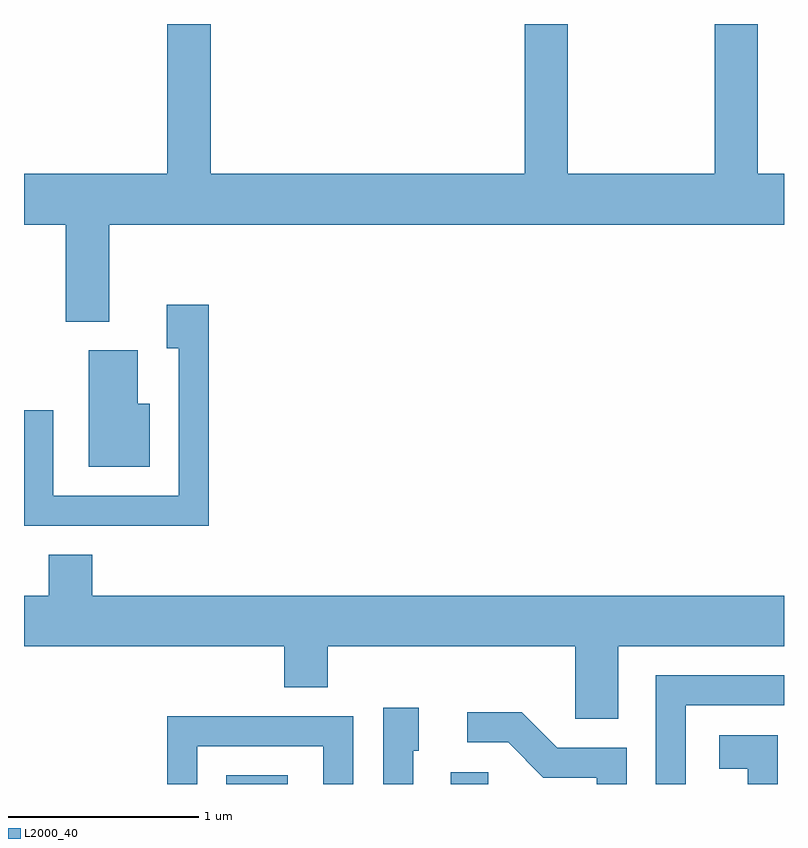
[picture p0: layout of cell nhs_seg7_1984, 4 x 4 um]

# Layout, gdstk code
import gdstk
lib = gdstk.Library(unit=1e-6, precision=1e-09)
def R(c, l, rs):  # rectangles x0, y0, x1, y1
    for r in rs: c.add(gdstk.rectangle(r[:2], r[2:], *l))
def P(c, l, *ps):  # polygons
    for p in ps: c.add(gdstk.Polygon(p, *l))
L2000_40 = (2000, 40)

nhs_seg7_1984 = lib.new_cell('nhs_seg7_1984')
R(nhs_seg7_1984, L2000_40, [(246.676,1720.252,246.999,1720.299), (247.856,1720.252,248.054,1720.314)])
P(nhs_seg7_1984, L2000_40, [(249.611,1723.464),(249.474,1723.464),(249.474,1724.252),(249.246,1724.252),(249.246,1723.464),(248.474,1723.464),(248.474,1724.252),(248.246,1724.252),(248.246,1723.464),(246.594,1723.464),(246.594,1724.252),(246.366,1724.252),(246.366,1723.464),(245.611,1723.464),(245.611,1723.196),(245.831,1723.196),(245.831,1722.686),(246.059,1722.686),(246.059,1723.196),(249.611,1723.196)],
  [(246.584,1722.774),(246.361,1722.774),(246.361,1722.546),(246.426,1722.546),(246.426,1721.769),(245.764,1721.769),(245.764,1722.218),(245.611,1722.218),(245.611,1721.611),(246.584,1721.611)],
  [(246.274,1722.254),(246.209,1722.254),(246.209,1722.534),(245.951,1722.534),(245.951,1721.921),(246.274,1721.921)],
  [(248.739,1720.976),(249.611,1720.976),(249.611,1721.244),(245.969,1721.244),(245.969,1721.459),(245.741,1721.459),(245.741,1721.244),(245.611,1721.244),(245.611,1720.976),(246.981,1720.976),(246.981,1720.761),(247.209,1720.761),(247.209,1720.976),(248.511,1720.976),(248.511,1720.596),(248.739,1720.596)],
  [(249.094,1720.666),(249.611,1720.666),(249.611,1720.824),(248.936,1720.824),(248.936,1720.252),(249.094,1720.252)],
  [(247.659,1720.426),(247.689,1720.426),(247.689,1720.654),(247.501,1720.654),(247.501,1720.252),(247.659,1720.252)],
  [(248.784,1720.444),(248.417,1720.444),(248.232,1720.629),(247.943,1720.629),(247.943,1720.471),(248.159,1720.471),(248.344,1720.286),(248.626,1720.286),(248.626,1720.252),(248.784,1720.252)],
  [(246.524,1720.451),(247.186,1720.451),(247.186,1720.252),(247.344,1720.252),(247.344,1720.609),(246.366,1720.609),(246.366,1720.252),(246.524,1720.252)],
  [(249.579,1720.509),(249.271,1720.509),(249.271,1720.331),(249.421,1720.331),(249.421,1720.252),(249.579,1720.252)])

lib.write_gds('nhs_seg7_1984.gds')
